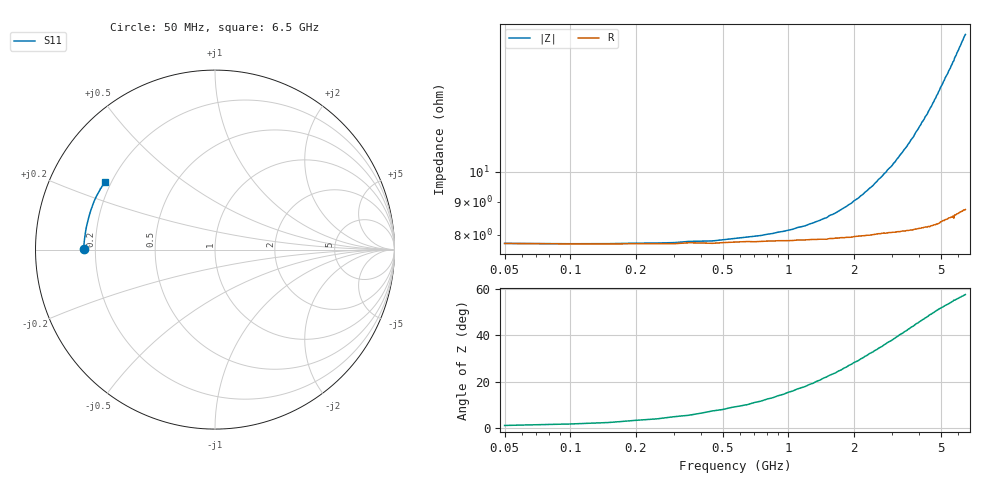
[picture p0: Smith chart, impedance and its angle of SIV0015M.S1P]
! (c) 1999  Infineon Technologies AG, Munich
! Infineon Technologies  Discrete & RF Semiconductors
! BAT24-02LS
! Si Schottky Diode in TSSLP-2
! IF = 15 mA
! S-Parameters:  July  2007
# GHz  S  MA  R  50
!  f  S11
! GHz  MAG  ANG
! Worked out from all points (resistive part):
!   130 points, 50 MHz to 6.5 GHz, reference 50 ohm
!   read as one part to ground: R = 7.76 ohm at 50 MHz
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0.05  0.7312 179.6
0.15  0.7316 179.2
0.35  0.7307 178.2
0.45  0.7312 177.6
0.65  0.7298 176.7
0.9  0.7293 175.4
1.2  0.7289 174.0
1.7  0.728 171.5
2.5  0.7263 167.6
2.7  0.7258 166.7
2.85  0.7259 165.9
3  0.7258 165.3
3.3  0.7257 163.8
3.5  0.7255 162.9
3.65  0.7256 162.1
3.75  0.7256 161.7
3.85  0.7256 161.1
3.95  0.7254 160.7
4.1  0.7252 159.9
4.35  0.7254 158.8
4.45  0.7257 158.2
4.55  0.7252 157.8
4.9  0.7247 156.0
5.65  0.7226 152.5
5.7  0.722 152.2
5.75  0.724 152.0
5.8  0.7216 151.7
6.5  0.7205 148.5
